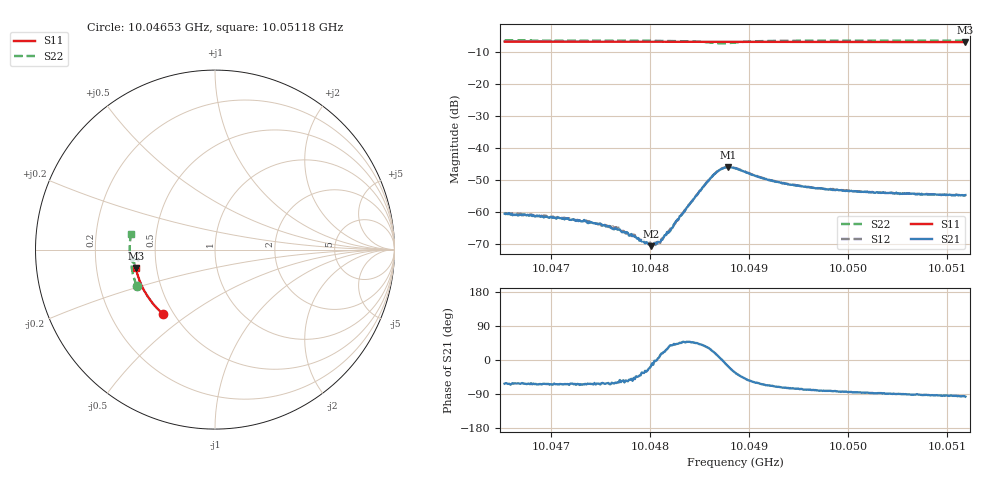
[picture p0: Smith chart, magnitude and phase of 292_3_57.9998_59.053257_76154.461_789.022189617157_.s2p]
#  HZ  S  RI  R  50.00
! Rohde & Schwarz Vector Network Analyzer
! Rohde-Schwarz,ZNB20-2Port,1311601062101988,3.16
! Created: UTC 3/21/2024, 1:03:20 AM
! freq[Hz]  re:S11  im:S11  re:S21  im:S21  re:S12  im:S12  re:S22  im:S22
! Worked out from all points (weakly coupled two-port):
!   401 points, 10.04653 GHz to 10.05118 GHz, reference 50 ohm
!   highest |S21| = -46.05 dB at 10.04879 GHz (marker M1); lowest = -70.7 dB at 10.04801 GHz (marker M2)
!   lowest |S11| = -6.9 dB at 10.05118 GHz (marker M3), VSWR 2.65, Z = 19 - j4.89 ohm
!   |S11| at or under -10 dB: nowhere
!   |S22| runs from -7.3 to -6.4 dB; largest |S21 - S12| = 0.00034
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1.0046529e10  -0.2875 -0.3605  0.000435 -0.000832  0.000525 -0.000803  -0.4346 -0.2028
1.0047088e10  -0.3146 -0.3353  0.000357 -0.000711  0.000388 -0.000731  -0.4484 -0.1677
1.0047309e10  -0.3248 -0.3248  0.000299 -0.000647  0.000344 -0.000647  -0.453 -0.1532
1.0047483e10  -0.3325 -0.3164  0.0003 -0.000578  0.000351 -0.000534  -0.4561 -0.1414
1.0047669e10  -0.3406 -0.3071  0.000272 -0.000453  0.00033 -0.000437  -0.4592 -0.1284
1.0047762e10  -0.3447 -0.3024  0.000274 -0.000397  0.000282 -0.000366  -0.4606 -0.1218
1.0047821e10  -0.3471 -0.2994  0.000241 -0.000344  0.000293 -0.00033  -0.4614 -0.1175
1.0047879e10  -0.3495 -0.2962  0.000282 -0.00027  0.000295 -0.000247  -0.4622 -0.1131
1.0048007e10  -0.3546 -0.2896  0.000278 -8.34e-05  0.000302 -5.14e-05  -0.4634 -0.1033
1.0048053e10  -0.3564 -0.2873  0.000326 -1.6e-05  0.000303 -3.6e-06  -0.4637 -0.0997
1.0048088e10  -0.3578 -0.2853  0.000353 3.91e-05  0.000341 0.000115  -0.464 -0.0969
1.0048123e10  -0.3594 -0.2836  0.000352 0.000108  0.000358 0.000143  -0.4641 -0.094
1.0048205e10  -0.3625 -0.2793  0.000397 0.000322  0.000427 0.00034  -0.4639 -0.087
1.0048274e10  -0.3651 -0.2755  0.000555 0.000511  0.000495 0.000532  -0.4635 -0.0807
1.0048612e10  -0.3773 -0.2569  0.00303 0.00156  0.00294 0.00175  -0.441 -0.0526
1.0048705e10  -0.3804 -0.2517  0.00454 0.000416  0.00453 0.000705  -0.4283 -0.0595
1.0048786e10  -0.3832 -0.2476  0.00477 -0.00144  0.00489 -0.00113  -0.4293 -0.0727
1.0048856e10  -0.3855 -0.2438  0.00403 -0.00263  0.00424 -0.00237  -0.4388 -0.0785
1.0049217e10  -0.3974 -0.2232  0.00116 -0.00287  0.00133 -0.00283  -0.4684 -0.0534
1.0049635e10  -0.4096 -0.1984  0.000445 -0.00234  0.000619 -0.00234  -0.4748 -0.02
1.0050415e10  -0.4282 -0.1506  4.91e-05 -0.00198  0.000127 -0.00195  -0.4744 0.0349
1.0051183e10  -0.4411 -0.1021  -0.000209 -0.00182  -6.88e-05 -0.00181  -0.4676 0.0862
